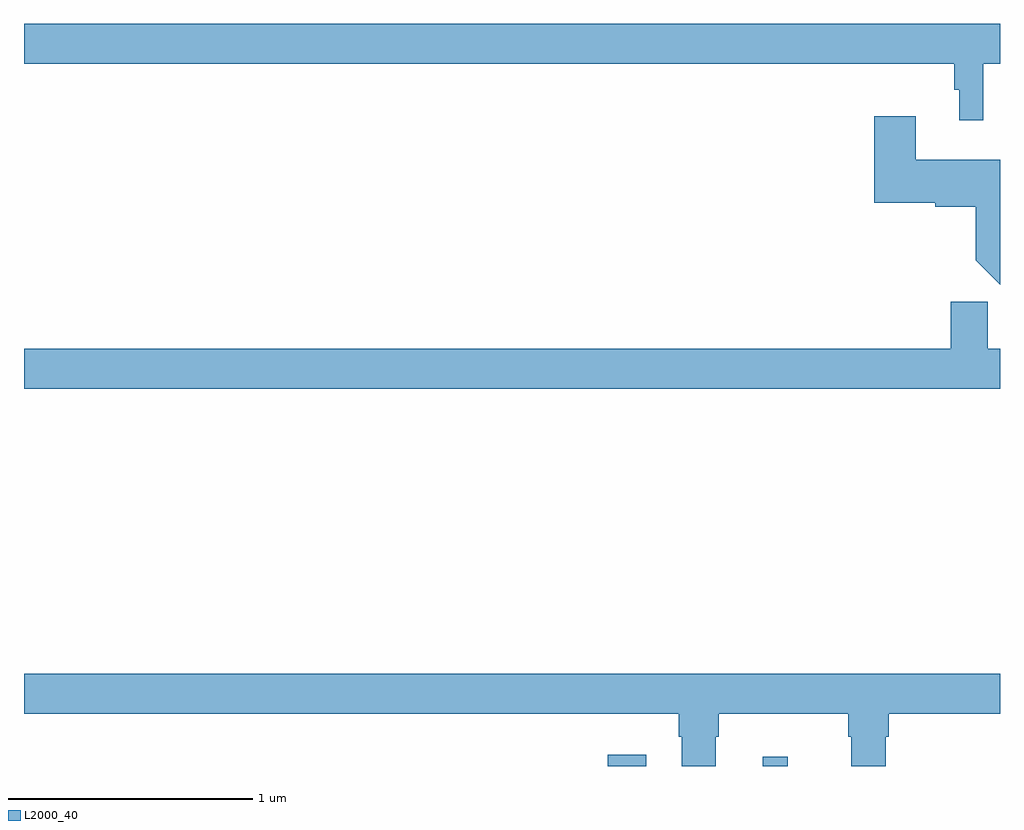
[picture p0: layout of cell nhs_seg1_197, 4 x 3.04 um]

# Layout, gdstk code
import gdstk
lib = gdstk.Library(unit=1e-6, precision=1e-09)
def R(c, l, rs):  # rectangles x0, y0, x1, y1
    for r in rs: c.add(gdstk.rectangle(r[:2], r[2:], *l))
def P(c, l, *ps):  # polygons
    for p in ps: c.add(gdstk.Polygon(p, *l))
L2000_40 = (2000, 40)

nhs_seg1_197 = lib.new_cell('nhs_seg1_197')
R(nhs_seg1_197, L2000_40, [(123.392,534.199,123.55,534.247), (124.028,534.199,124.13,534.238)])
P(nhs_seg1_197, L2000_40, [(124.931,537.08),(125,537.08),(125,537.244),(121,537.244),(121,537.08),(124.813,537.08),(124.813,536.972),(124.832,536.972),(124.832,536.847),(124.931,536.847)],
  [(125,536.686),(124.654,536.686),(124.654,536.863),(124.484,536.863),(124.484,536.51),(124.734,536.51),(124.734,536.492),(124.901,536.492),(124.901,536.273),(125,536.174)],
  [(125,535.912),(124.949,535.912),(124.949,536.103),(124.799,536.103),(124.799,535.912),(121,535.912),(121,535.748),(125,535.748)],
  [(123.835,534.32),(123.848,534.32),(123.848,534.416),(124.379,534.416),(124.379,534.32),(124.391,534.32),(124.391,534.199),(124.531,534.199),(124.531,534.32),(124.544,534.32),(124.544,534.416),(125,534.416),(125,534.58),(121,534.58),(121,534.416),(123.683,534.416),(123.683,534.32),(123.695,534.32),(123.695,534.199),(123.835,534.199)])

lib.write_gds('nhs_seg1_197.gds')
